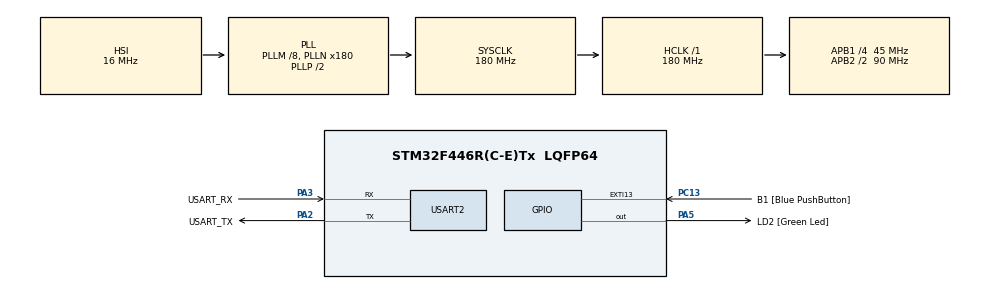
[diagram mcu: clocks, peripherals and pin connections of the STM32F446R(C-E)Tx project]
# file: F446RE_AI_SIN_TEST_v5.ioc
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Mcu.Family=STM32F4
Mcu.Name=STM32F446R(C-E)Tx
Mcu.Package=LQFP64
NVIC.PriorityGroup=NVIC_PRIORITYGROUP_0
PA13.GPIO_Label=TMS
PA13.Mode=Serial_Wire
PA13.Signal=SYS_JTMS-SWDIO
PA14.GPIO_Label=TCK
PA14.Mode=Serial_Wire
PA14.Signal=SYS_JTCK-SWCLK
PA2.GPIO_Label=USART_TX
PA2.Mode=Asynchronous
PA2.Signal=USART2_TX
PA3.GPIO_Label=USART_RX
PA3.Mode=Asynchronous
PA3.Signal=USART2_RX
PA5.GPIO_Label=LD2 [Green Led]
PA5.Signal=GPIO_Output
PB3.GPIO_Label=SWO
PB3.Signal=SYS_JTDO-SWO
PC13.GPIO_Label=B1 [Blue PushButton]
PC13.GPIO_ModeDefaultEXTI=GPIO_MODE_IT_FALLING
PC13.Signal=GPXTI13
PC14-OSC32_IN.Mode=LSE-External-Oscillator
PC14-OSC32_IN.Signal=RCC_OSC32_IN
PC15-OSC32_OUT.Mode=LSE-External-Oscillator
PC15-OSC32_OUT.Signal=RCC_OSC32_OUT
PH0-OSC_IN.Mode=HSE-External-Oscillator
PH0-OSC_IN.Signal=RCC_OSC_IN
PH1-OSC_OUT.Mode=HSE-External-Oscillator
PH1-OSC_OUT.Signal=RCC_OSC_OUT
ProjectManager.HeapSize=0x200
ProjectManager.StackSize=0x800
ProjectManager.TargetToolchain=STM32CubeIDE
RCC.48MHZClocksFreq_Value=84000000
RCC.AHBFreq_Value=180000000
RCC.APB1CLKDivider=RCC_HCLK_DIV4
RCC.APB1Freq_Value=45000000
RCC.APB1TimFreq_Value=90000000
RCC.APB2CLKDivider=RCC_HCLK_DIV2
RCC.APB2Freq_Value=90000000
RCC.APB2TimFreq_Value=180000000
RCC.CortexFreq_Value=180000000
RCC.FLatency-AdvancedSettings=FLASH_LATENCY_5
RCC.HCLKFreq_Value=180000000
RCC.HSE_VALUE=8000000
RCC.HSI_VALUE=16000000
RCC.PLLM=8
RCC.PLLN=180
RCC.SYSCLKFreq_VALUE=180000000
RCC.SYSCLKSource=RCC_SYSCLKSOURCE_PLLCLK
RCC.USBFreq_Value=180000000
RCC.VCOOutputFreq_Value=360000000
TIM14.Prescaler=90 - 1
USART2.VirtualMode=VM_ASYNC
VP_CRC_VS_CRC.Mode=CRC_Activate
VP_TIM14_VS_ClockSourceINT.Mode=Enable_Timer
board=NUCLEO-F446RE

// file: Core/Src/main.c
/* USER CODE BEGIN Header */
/**
  ******************************************************************************
  * @file           : main.c
  * @brief          : Main program body
  ******************************************************************************
  * @attention
  *
  * Copyright (c) 2022 STMicroelectronics.
  * All rights reserved.
  *
  * This software is licensed under terms that can be found in the LICENSE file
  * in the root directory of this software component.
  * If no LICENSE file comes with this software, it is provided AS-IS.
  *
  ******************************************************************************
  */
/* USER CODE END Header */
#include "main.h"

/* USER CODE BEGIN Includes */
#include <stdio.h>

#include "ai_datatypes_defines.h"
#include "ai_platform.h"
#include "sin_model.h"
#include "sin_model_data.h"
/* USER CODE END Includes */

CRC_HandleTypeDef hcrc;

TIM_HandleTypeDef htim14;

UART_HandleTypeDef huart2;

void SystemClock_Config(void);
static void MX_GPIO_Init(void);
static void MX_USART2_UART_Init(void);
static void MX_CRC_Init(void);
static void MX_TIM14_Init(void);

int main(void)
{
  /* USER CODE BEGIN 1 */
	char buf[50];
	int buf_len = 0;
	ai_error ai_err;
	ai_i32 nbatch;
	uint32_t timestamp;
	float y_val;

	AI_ALIGNED(4) ai_u8 activations[AI_SIN_MODEL_DATA_ACTIVATIONS_SIZE];

	AI_ALIGNED(4) ai_i8 in_data[AI_SIN_MODEL_IN_1_SIZE_BYTES];
	AI_ALIGNED(4) ai_i8 out_data[AI_SIN_MODEL_OUT_1_SIZE_BYTES];

	ai_handle sin_model = AI_HANDLE_NULL;

	ai_buffer ai_input[AI_SIN_MODEL_IN_NUM] = AI_SIN_MODEL_IN;
	ai_buffer ai_output[AI_SIN_MODEL_OUT_NUM] = AI_SIN_MODEL_OUT;

	ai_network_params ai_params = {
			AI_SIN_MODEL_DATA_WEIGHTS(ai_sin_model_data_weights_get()),
			AI_SIN_MODEL_DATA_ACTIVATIONS(activations)
	};

	ai_input[0].n_batches = 1;
	ai_input[0].data = AI_HANDLE_PTR(in_data);
	ai_output[0].n_batches = 1;
	ai_output[0].data = AI_HANDLE_PTR(out_data);
  /* USER CODE END 1 */

  /* MCU Configuration--------------------------------------------------------*/

  /* Reset of all peripherals, Initializes the Flash interface and the Systick. */
  HAL_Init();

  /* Configure the system clock */
  SystemClock_Config();

  /* Initialize all configured peripherals */
  MX_GPIO_Init();
  MX_USART2_UART_Init();
  MX_CRC_Init();
  MX_TIM14_Init();
  /* USER CODE BEGIN 2 */

  HAL_TIM_Base_Start(&htim14);

  // Greetings!
  buf_len = sprintf(buf, "\r\n\r\nSTM32 X-Cube-AI test\r\n");
  HAL_UART_Transmit(&huart2, (uint8_t *)buf, buf_len, 100);

  // Create instance of neural network
  ai_err = ai_sin_model_create(&sin_model, AI_SIN_MODEL_DATA_CONFIG);
  if (ai_err.type != AI_ERROR_NONE)
  {
	  buf_len = sprintf(buf, "Error: could not create NN instance\r\n");
	  HAL_UART_Transmit(&huart2, (uint8_t *)buf, buf_len, 100);
	  while(1);
  }

  // Initialize neural network
  if (!ai_sin_model_init(sin_model, &ai_params))
  {
	  buf_len = sprintf(buf, "Error: could not initialize NN\r\n");
	  HAL_UART_Transmit(&huart2, (uint8_t *)buf, buf_len, 100);
	  while(1);
  }

  /* USER CODE END 2 */

  /* Infinite loop */
  /* USER CODE BEGIN WHILE */
  while (1)
  {
	  // Fill input buffer (use test value)
	  for (uint32_t i = 0; i < AI_SIN_MODEL_IN_1_SIZE; i++)
	  {
		  ((ai_float *)in_data)[i] = (ai_float)3.0f;
	  }

	  // Get current timestamp
	  timestamp = htim14.Instance->CNT;

	  // Perform inference
	  nbatch = ai_sin_model_run(sin_model, &ai_input[0], &ai_output[0]);
	  if (nbatch != 1) {
		  buf_len = sprintf(buf, "Error: could not run inference\r\n");
		  HAL_UART_Transmit(&huart2, (uint8_t *)buf, buf_len, 100);
	  }

	  // Read output (predicted y) of neural network
	  y_val = ((float *)out_data)[0];

	  // Print output of neural network along with inference time (microseconds)
	  buf_len = sprintf(buf,
			  "Output: %f | Duration: %lu\r\n",
			  y_val,
			  htim14.Instance->CNT - timestamp);
	  HAL_UART_Transmit(&huart2, (uint8_t *)buf, buf_len, 100);

	  // Wait before doing it again
	  HAL_Delay(500);
    /* USER CODE END WHILE */

  }
}

void SystemClock_Config(void)
{
  RCC_OscInitTypeDef RCC_OscInitStruct = {0};
  RCC_ClkInitTypeDef RCC_ClkInitStruct = {0};

  /** Configure the main internal regulator output voltage
  */
  __HAL_RCC_PWR_CLK_ENABLE();
  __HAL_PWR_VOLTAGESCALING_CONFIG(PWR_REGULATOR_VOLTAGE_SCALE1);

  /** Initializes the RCC Oscillators according to the specified parameters
  * in the RCC_OscInitTypeDef structure.
  */
  RCC_OscInitStruct.OscillatorType = RCC_OSCILLATORTYPE_HSI;
  RCC_OscInitStruct.HSIState = RCC_HSI_ON;
  RCC_OscInitStruct.HSICalibrationValue = RCC_HSICALIBRATION_DEFAULT;
  RCC_OscInitStruct.PLL.PLLState = RCC_PLL_ON;
  RCC_OscInitStruct.PLL.PLLSource = RCC_PLLSOURCE_HSI;
  RCC_OscInitStruct.PLL.PLLM = 8;
  RCC_OscInitStruct.PLL.PLLN = 180;
  RCC_OscInitStruct.PLL.PLLP = RCC_PLLP_DIV2;
  RCC_OscInitStruct.PLL.PLLQ = 2;
  RCC_OscInitStruct.PLL.PLLR = 2;
  if (HAL_RCC_OscConfig(&RCC_OscInitStruct) != HAL_OK)
  {
    Error_Handler();
  }

  /** Activate the Over-Drive mode
  */
  if (HAL_PWREx_EnableOverDrive() != HAL_OK)
  {
    Error_Handler();
  }

  /** Initializes the CPU, AHB and APB buses clocks
  */
  RCC_ClkInitStruct.ClockType = RCC_CLOCKTYPE_HCLK|RCC_CLOCKTYPE_SYSCLK
                              |RCC_CLOCKTYPE_PCLK1|RCC_CLOCKTYPE_PCLK2;
  RCC_ClkInitStruct.SYSCLKSource = RCC_SYSCLKSOURCE_PLLCLK;
  RCC_ClkInitStruct.AHBCLKDivider = RCC_SYSCLK_DIV1;
  RCC_ClkInitStruct.APB1CLKDivider = RCC_HCLK_DIV4;
  RCC_ClkInitStruct.APB2CLKDivider = RCC_HCLK_DIV2;

  if (HAL_RCC_ClockConfig(&RCC_ClkInitStruct, FLASH_LATENCY_5) != HAL_OK)
  {
    Error_Handler();
  }
}

static void MX_CRC_Init(void)
{

  hcrc.Instance = CRC;
  if (HAL_CRC_Init(&hcrc) != HAL_OK)
  {
    Error_Handler();
  }

}

static void MX_TIM14_Init(void)
{

  htim14.Instance = TIM14;
  htim14.Init.Prescaler = 90 - 1;
  htim14.Init.CounterMode = TIM_COUNTERMODE_UP;
  htim14.Init.Period = 65535;
  htim14.Init.ClockDivision = TIM_CLOCKDIVISION_DIV1;
  htim14.Init.AutoReloadPreload = TIM_AUTORELOAD_PRELOAD_DISABLE;
  if (HAL_TIM_Base_Init(&htim14) != HAL_OK)
  {
    Error_Handler();
  }

}

static void MX_USART2_UART_Init(void)
{

  huart2.Instance = USART2;
  huart2.Init.BaudRate = 115200;
  huart2.Init.WordLength = UART_WORDLENGTH_8B;
  huart2.Init.StopBits = UART_STOPBITS_1;
  huart2.Init.Parity = UART_PARITY_NONE;
  huart2.Init.Mode = UART_MODE_TX_RX;
  huart2.Init.HwFlowCtl = UART_HWCONTROL_NONE;
  huart2.Init.OverSampling = UART_OVERSAMPLING_16;
  if (HAL_UART_Init(&huart2) != HAL_OK)
  {
    Error_Handler();
  }

}

static void MX_GPIO_Init(void)
{
  GPIO_InitTypeDef GPIO_InitStruct = {0};

  /* GPIO Ports Clock Enable */
  __HAL_RCC_GPIOC_CLK_ENABLE();
  __HAL_RCC_GPIOH_CLK_ENABLE();
  __HAL_RCC_GPIOA_CLK_ENABLE();
  __HAL_RCC_GPIOB_CLK_ENABLE();

  /*Configure GPIO pin Output Level */
  HAL_GPIO_WritePin(LD2_GPIO_Port, LD2_Pin, GPIO_PIN_RESET);

  /*Configure GPIO pin : B1_Pin */
  GPIO_InitStruct.Pin = B1_Pin;
  GPIO_InitStruct.Mode = GPIO_MODE_IT_FALLING;
  GPIO_InitStruct.Pull = GPIO_NOPULL;
  HAL_GPIO_Init(B1_GPIO_Port, &GPIO_InitStruct);

  /*Configure GPIO pin : LD2_Pin */
  GPIO_InitStruct.Pin = LD2_Pin;
  GPIO_InitStruct.Mode = GPIO_MODE_OUTPUT_PP;
  GPIO_InitStruct.Pull = GPIO_NOPULL;
  GPIO_InitStruct.Speed = GPIO_SPEED_FREQ_LOW;
  HAL_GPIO_Init(LD2_GPIO_Port, &GPIO_InitStruct);

}

void Error_Handler(void)
{
  __disable_irq();
  while (1)
  {
  }
}
